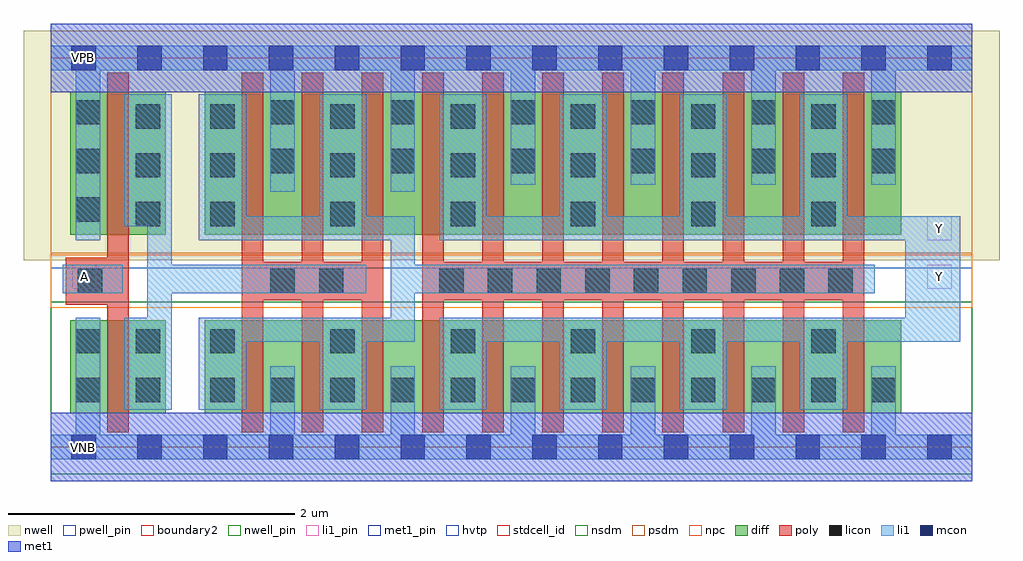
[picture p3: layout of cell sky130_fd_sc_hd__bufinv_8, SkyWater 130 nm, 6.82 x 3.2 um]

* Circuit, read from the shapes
.subckt sky130_fd_sc_hd__bufinv_8 A VGND VNB VPB VPWR Y
XM1 n1 A VGND VNB sky130_fd_pr__nfet_01v8 w=0.65 l=0.15
XM2 VGND n1 n2 VNB sky130_fd_pr__nfet_01v8 w=0.65 l=0.15 m=3
XM3 Y n2 VGND VNB sky130_fd_pr__nfet_01v8 w=0.65 l=0.15 m=8
XM4 n1 A VPWR VPB sky130_fd_pr__pfet_01v8_hvt w=1 l=0.15
XM5 VPWR n1 n2 VPB sky130_fd_pr__pfet_01v8_hvt w=1 l=0.15 m=3
XM6 Y n2 VPWR VPB sky130_fd_pr__pfet_01v8_hvt w=1 l=0.15 m=8
.ends

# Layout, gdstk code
import gdstk
lib = gdstk.Library(unit=1e-6, precision=1e-09)
def R(c, l, rs):  # rectangles x0, y0, x1, y1
    for r in rs: c.add(gdstk.rectangle(r[:2], r[2:], *l))
def A(c, l, x, y, w, h, nx, ny, dx, dy):  # array of equal rectangles
    R(c, l, [(x+i*dx, y+j*dy, x+i*dx+w, y+j*dy+h) for i in range(nx) for j in range(ny)])
def P(c, l, *ps):  # polygons
    for p in ps: c.add(gdstk.Polygon(p, *l))
nwell_pin = (64, 16)
nwell = (64, 20)
diff = (65, 20)
poly = (66, 20)
licon = (66, 44)
li1_pin = (67, 16)
li1 = (67, 20)
mcon = (67, 44)
met1_pin = (68, 16)
met1 = (68, 20)
hvtp = (78, 44)
stdcell_id = (81, 4)
nsdm = (93, 44)
psdm = (94, 20)
npc = (95, 20)
pwell_pin = (122, 16)
boundary2 = (236, 0)

sky130_fd_sc_hd__bufinv_ = lib.new_cell('sky130_fd_sc_hd__bufinv_8')
R(sky130_fd_sc_hd__bufinv_, nwell_pin, [(0.15,2.635,0.32,2.805)])
R(sky130_fd_sc_hd__bufinv_, nwell, [(-0.19,1.305,6.63,2.91)])
R(sky130_fd_sc_hd__bufinv_, diff, [(0.135,0.235,0.805,0.885), (1.075,0.235,5.945,0.885), (0.135,1.485,0.805,2.485), (1.075,1.485,5.945,2.485)])
P(sky130_fd_sc_hd__bufinv_, poly, [(0.545,2.615),(0.395,2.615),(0.395,1.325),(0.105,1.325),(0.105,0.995),(0.395,0.995),(0.395,0.105),(0.545,0.105)],
  [(2.325,2.615),(2.175,2.615),(2.175,1.295),(1.905,1.295),(1.905,2.615),(1.755,2.615),(1.755,1.295),(1.485,1.295),(1.485,2.615),(1.335,2.615),(1.335,0.105),(1.485,0.105),(1.485,1.025),(1.755,1.025),(1.755,0.105),(1.905,0.105),(1.905,1.025),(2.175,1.025),(2.175,0.105),(2.325,0.105)],
  [(5.685,2.615),(5.535,2.615),(5.535,1.295),(5.265,1.295),(5.265,2.615),(5.115,2.615),(5.115,1.295),(4.845,1.295),(4.845,2.615),(4.695,2.615),(4.695,1.295),(4.425,1.295),(4.425,2.615),(4.275,2.615),(4.275,1.295),(4.005,1.295),(4.005,2.615),(3.855,2.615),(3.855,1.295),(3.585,1.295),(3.585,2.615),(3.435,2.615),(3.435,1.295),(3.165,1.295),(3.165,2.615),(3.015,2.615),(3.015,1.295),(2.745,1.295),(2.745,2.615),(2.595,2.615),(2.595,0.105),(2.745,0.105),(2.745,1.025),(3.015,1.025),(3.015,0.105),(3.165,0.105),(3.165,1.025),(3.435,1.025),(3.435,0.105),(3.585,0.105),(3.585,1.025),(3.855,1.025),(3.855,0.105),(4.005,0.105),(4.005,1.025),(4.275,1.025),(4.275,0.105),(4.425,0.105),(4.425,1.025),(4.695,1.025),(4.695,0.105),(4.845,0.105),(4.845,1.025),(5.115,1.025),(5.115,0.105),(5.265,0.105),(5.265,1.025),(5.535,1.025),(5.535,0.105),(5.685,0.105)])
A(sky130_fd_sc_hd__bufinv_, licon, 1.115, 0.315, 0.17, 0.17, 12, 1, 0.42, 0)
A(sky130_fd_sc_hd__bufinv_, licon, 1.115, 0.655, 0.17, 0.17, 6, 2, 0.84, 0.89)
A(sky130_fd_sc_hd__bufinv_, licon, 2.715, 1.075, 0.17, 0.17, 9, 1, 0.34, 0)
A(sky130_fd_sc_hd__bufinv_, licon, 0.595, 1.545, 0.17, 0.17, 1, 3, 0, 0.34)
A(sky130_fd_sc_hd__bufinv_, licon, 0.175, 1.575, 0.17, 0.17, 1, 3, 0, 0.34)
A(sky130_fd_sc_hd__bufinv_, licon, 1.115, 1.885, 0.17, 0.17, 6, 2, 0.84, 0.34)
A(sky130_fd_sc_hd__bufinv_, licon, 1.535, 1.915, 0.17, 0.17, 6, 2, 0.84, 0.34)
R(sky130_fd_sc_hd__bufinv_, licon, [(0.175,0.315,0.345,0.485), (0.595,0.315,0.765,0.485), (0.175,0.655,0.345,0.825), (0.595,0.655,0.765,0.825), (0.19,1.075,0.36,1.245), (1.535,1.075,1.705,1.245), (1.875,1.075,2.045,1.245)])
R(sky130_fd_sc_hd__bufinv_, li1_pin, [(0.15,1.105,0.32,1.275), (6.125,1.105,6.295,1.275), (6.125,1.445,6.295,1.615)])
R(sky130_fd_sc_hd__bufinv_, li1, [(0.085,1.075,0.505,1.275)])
P(sky130_fd_sc_hd__bufinv_, li1, [(6.44,0.085),(5.905,0.085),(5.905,0.565),(5.735,0.565),(5.735,0.085),(5.065,0.085),(5.065,0.565),(4.895,0.565),(4.895,0.085),(4.225,0.085),(4.225,0.565),(4.055,0.565),(4.055,0.085),(3.385,0.085),(3.385,0.565),(3.215,0.565),(3.215,0.085),(2.545,0.085),(2.545,0.565),(2.375,0.565),(2.375,0.085),(1.705,0.085),(1.705,0.565),(1.535,0.565),(1.535,0.085),(0.345,0.085),(0.345,0.905),(0.175,0.905),(0.175,0.085),(0,0.085),(0,-0.085),(6.44,-0.085)],
  [(6.44,2.805),(0,2.805),(0,2.635),(0.175,2.635),(0.175,1.445),(0.345,1.445),(0.345,2.635),(1.535,2.635),(1.535,1.785),(1.705,1.785),(1.705,2.635),(2.375,2.635),(2.375,1.785),(2.545,1.785),(2.545,2.635),(3.215,2.635),(3.215,1.835),(3.385,1.835),(3.385,2.635),(4.055,2.635),(4.055,1.835),(4.225,1.835),(4.225,2.635),(4.895,2.635),(4.895,1.835),(5.065,1.835),(5.065,2.635),(5.735,2.635),(5.735,1.835),(5.905,1.835),(5.905,2.635),(6.44,2.635)],
  [(2.205,1.275),(0.845,1.275),(0.845,2.465),(0.515,2.465),(0.515,1.545),(0.675,1.545),(0.675,0.905),(0.515,0.905),(0.515,0.26),(0.845,0.26),(0.845,1.075),(2.205,1.075)],
  [(5.76,1.275),(2.545,1.275),(2.545,1.615),(2.205,1.615),(2.205,2.465),(1.875,2.465),(1.875,1.615),(1.365,1.615),(1.365,2.465),(1.035,2.465),(1.035,1.445),(2.375,1.445),(2.375,0.905),(1.035,0.905),(1.035,0.26),(1.365,0.26),(1.365,0.735),(1.875,0.735),(1.875,0.26),(2.205,0.26),(2.205,0.735),(2.545,0.735),(2.545,1.075),(5.76,1.075)],
  [(6.355,1.615),(5.565,1.615),(5.565,2.465),(5.235,2.465),(5.235,1.615),(4.725,1.615),(4.725,2.465),(4.395,2.465),(4.395,1.615),(3.885,1.615),(3.885,2.465),(3.555,2.465),(3.555,1.615),(3.045,1.615),(3.045,2.465),(2.715,2.465),(2.715,1.445),(5.97,1.445),(5.97,0.905),(2.715,0.905),(2.715,0.26),(3.045,0.26),(3.045,0.735),(3.555,0.735),(3.555,0.26),(3.885,0.26),(3.885,0.735),(4.395,0.735),(4.395,0.26),(4.725,0.26),(4.725,0.735),(5.235,0.735),(5.235,0.26),(5.565,0.26),(5.565,0.735),(6.355,0.735)])
A(sky130_fd_sc_hd__bufinv_, mcon, 0.145, -0.085, 0.17, 0.17, 14, 2, 0.46, 2.72)
R(sky130_fd_sc_hd__bufinv_, met1_pin, [(0.15,-0.085,0.32,0.085), (0.15,2.635,0.32,2.805)])
R(sky130_fd_sc_hd__bufinv_, hvtp, [(0,1.25,6.44,2.72)])
R(sky130_fd_sc_hd__bufinv_, stdcell_id, [(0,0,6.44,2.72)])
R(sky130_fd_sc_hd__bufinv_, nsdm, [(0,-0.19,6.44,1.015)])
R(sky130_fd_sc_hd__bufinv_, psdm, [(0,1.355,6.44,2.91)])
R(sky130_fd_sc_hd__bufinv_, npc, [(0,0.975,6.44,1.345)])
R(sky130_fd_sc_hd__bufinv_, pwell_pin, [(0.15,-0.085,0.32,0.085)])
R(sky130_fd_sc_hd__bufinv_, boundary2, [(0,0,6.44,2.72)])
sky130_fd_sc_hd__bufinv_.add(gdstk.FlexPath([(0,2.72),(6.44,2.72)], 0.48, ends="flush", simple_path=True, layer=68, datatype=20))  # met1
sky130_fd_sc_hd__bufinv_.add(gdstk.FlexPath([(0,0),(6.44,0)], 0.48, ends="flush", simple_path=True, layer=68, datatype=20))  # met1
sky130_fd_sc_hd__bufinv_.add(gdstk.Label('A', (0.235,1.19), layer=67, texttype=5))
sky130_fd_sc_hd__bufinv_.add(gdstk.Label('Y', (6.21,1.19), layer=67, texttype=5))
sky130_fd_sc_hd__bufinv_.add(gdstk.Label('Y', (6.21,1.53), layer=67, texttype=5))
sky130_fd_sc_hd__bufinv_.add(gdstk.Label('VNB', (0.23,0), layer=64, texttype=59))
sky130_fd_sc_hd__bufinv_.add(gdstk.Label('VPB', (0.23,2.72), layer=64, texttype=5))
sky130_fd_sc_hd__bufinv_.add(gdstk.Label('VGND', (0.23,0), layer=68, texttype=5))
sky130_fd_sc_hd__bufinv_.add(gdstk.Label('VPWR', (0.23,2.72), layer=68, texttype=5))
sky130_fd_sc_hd__bufinv_.add(gdstk.Label('bufinv_8', (0,0), layer=83, texttype=44))

lib.write_gds('sky130_fd_sc_hd__bufinv_8.gds')
